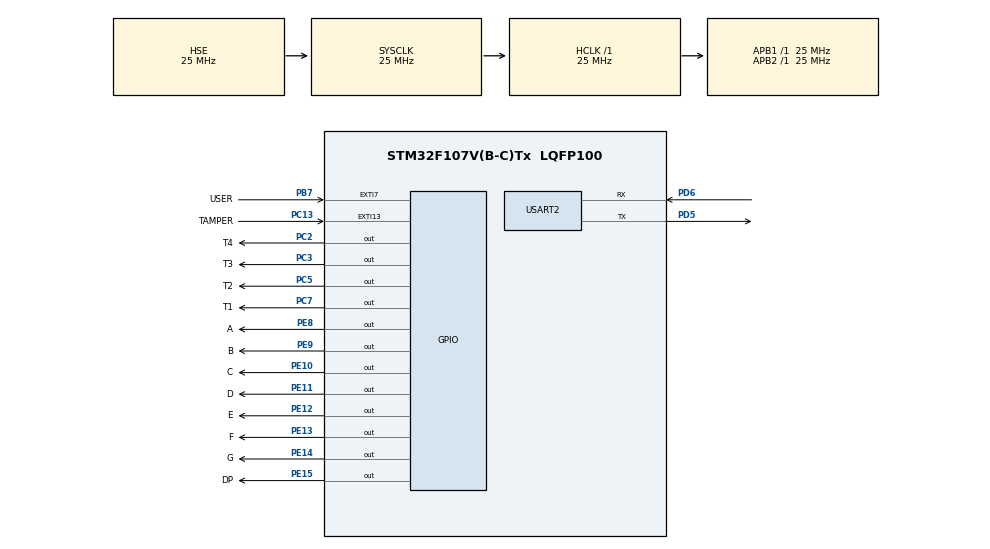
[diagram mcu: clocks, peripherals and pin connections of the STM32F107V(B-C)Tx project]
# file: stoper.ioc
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Mcu.Family=STM32F1
Mcu.Name=STM32F107V(B-C)Tx
Mcu.Package=LQFP100
NVIC.EXTI15_10_IRQn=true\:0\:0\:false\:false\:true\:true\:true
NVIC.EXTI9_5_IRQn=true\:0\:0\:false\:false\:true\:true\:true
NVIC.PriorityGroup=NVIC_PRIORITYGROUP_4
NVIC.TIM2_IRQn=true\:0\:0\:false\:false\:true\:true\:true
NVIC.TIM3_IRQn=true\:0\:0\:false\:false\:true\:true\:true
NVIC.USART2_IRQn=true\:0\:0\:false\:false\:true\:true\:true
OSC_IN.Mode=HSE-External-Oscillator
OSC_IN.Signal=RCC_OSC_IN
OSC_OUT.Mode=HSE-External-Oscillator
OSC_OUT.Signal=RCC_OSC_OUT
PA13.Mode=Serial_Wire
PA13.Signal=SYS_JTMS-SWDIO
PA14.Mode=Serial_Wire
PA14.Signal=SYS_JTCK-SWCLK
PB7.GPIO_Label=USER
PB7.GPIO_ModeDefaultEXTI=GPIO_MODE_IT_FALLING
PB7.Signal=GPXTI7
PC13-TAMPER-RTC.GPIO_Label=TAMPER
PC13-TAMPER-RTC.GPIO_ModeDefaultEXTI=GPIO_MODE_IT_FALLING
PC13-TAMPER-RTC.Signal=GPXTI13
PC2.GPIO_Label=T4
PC2.Signal=GPIO_Output
PC3.GPIO_Label=T3
PC3.Signal=GPIO_Output
PC5.GPIO_Label=T2
PC5.Signal=GPIO_Output
PC7.GPIO_Label=T1
PC7.Signal=GPIO_Output
PD5.Mode=Asynchronous
PD5.Signal=USART2_TX
PD6.Mode=Asynchronous
PD6.Signal=USART2_RX
PE10.GPIO_Label=C
PE10.Signal=GPIO_Output
PE11.GPIO_Label=D
PE11.Signal=GPIO_Output
PE12.GPIO_Label=E
PE12.Signal=GPIO_Output
PE13.GPIO_Label=F
PE13.Signal=GPIO_Output
PE14.GPIO_Label=G
PE14.Signal=GPIO_Output
PE15.GPIO_Label=DP
PE15.Signal=GPIO_Output
PE8.GPIO_Label=A
PE8.Signal=GPIO_Output
PE9.GPIO_Label=B
PE9.Signal=GPIO_Output
ProjectManager.HeapSize=0x200
ProjectManager.StackSize=0x400
ProjectManager.TargetToolchain=MDK-ARM V5
RCC.AHBFreq_Value=25000000
RCC.APB1Freq_Value=25000000
RCC.APB1TimFreq_Value=25000000
RCC.APB2Freq_Value=25000000
RCC.APB2TimFreq_Value=25000000
RCC.HCLKFreq_Value=25000000
RCC.HSE_VALUE=25000000
RCC.PLLMUL=RCC_PLL_MUL8
RCC.SYSCLKFreq_VALUE=25000000
RCC.SYSCLKSource=RCC_SYSCLKSOURCE_HSE
RCC.USBFreq_Value=21333333.333333332
TIM2.AutoReloadPreload=TIM_AUTORELOAD_PRELOAD_ENABLE
TIM2.Period=499
TIM2.Prescaler=49
TIM3.AutoReloadPreload=TIM_AUTORELOAD_PRELOAD_ENABLE
TIM3.Period=999
TIM3.Prescaler=99
USART2.VirtualMode=VM_ASYNC
VP_TIM2_VS_ClockSourceINT.Mode=Internal
VP_TIM3_VS_ClockSourceINT.Mode=Internal
board=custom

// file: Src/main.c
/* USER CODE BEGIN Header */
/**
  ******************************************************************************
  * @file           : main.c
  * @brief          : Main program body
  ******************************************************************************
  * @attention
  *
  * <h2><center>&copy; Copyright (c) 2019 STMicroelectronics.
  * All rights reserved.</center></h2>
  *
  * This software component is licensed by ST under BSD 3-Clause license,
  * the "License"; You may not use this file except in compliance with the
  * License. You may obtain a copy of the License at:
  *                        opensource.org/licenses/BSD-3-Clause
  *
  ******************************************************************************
  */
/* USER CODE END Header */

#include "main.h"
#include "tim.h"
#include "usart.h"
#include "gpio.h"

/* USER CODE BEGIN Includes */
#include "display.h"
#include "state_machine.h"
#include "stdio.h"
#include "stdlib.h"
/* USER CODE END Includes */

/* USER CODE BEGIN PV */

uint16_t ms, s  = 0;
uint8_t start = 0;
uint8_t cnt = 0;
uint8_t cnt1 = 0;
int tab[] = {0, 0, 0, 0};
uint8_t data[100];
uint16_t size = 4;
uint8_t bufor_cnt =0;
char bufor[5];
char Received;
enum states{IDLE, COUNT, PAUSE};
enum states state = IDLE;
uint32_t n=0;
/* USER CODE END PV */

void SystemClock_Config(void);
/* USER CODE BEGIN PFP */

void Display(int tab[4])
{
	Digit(cnt+1);
	bit_mask(tab[cnt]);
}

void HAL_GPIO_EXTI_Callback(uint16_t GPIO_Pin)
{
  /* Prevent unused argument(s) compilation warning */
	if(GPIO_Pin == USER_Pin)
	{
		/* Prevent unused argument(s) compilation warning */
		if (state == IDLE)
		{
			state = COUNT;
			size = sprintf(data, "Trwa odmierzanie czasu...\n\r");
			HAL_UART_Transmit_IT(&huart2, data, size);
		}

		else if(state == COUNT)
		{
			state = IDLE;
			size = sprintf(data, "Licznik wyzerowany. Zmierzony czas: %d ms.\n\r", s*1000+ms);
			HAL_UART_Transmit_IT(&huart2, data, size);
		}
		else if(state == PAUSE)
		{
			state = COUNT;
			size = sprintf(data, "Trwa odmierzanie czasu...\n\r");
			HAL_UART_Transmit_IT(&huart2, data, size);
		}

	}

	else if(GPIO_Pin == TAMPER_Pin)
	{
		if(state == COUNT)
		{
			state = PAUSE;
			size = sprintf(data, "Licznik zatrzymany. Zmierzony czas: %d ms.\n\r", s*1000+ms);
			HAL_UART_Transmit_IT(&huart2, data, size);
		}

		else if(state == IDLE)
		{
			state = PAUSE;
			size = sprintf(data, "Licznik zatrzymany.\n\r");
			HAL_UART_Transmit_IT(&huart2, data, size);

		}
	}
}

void HAL_TIM_PeriodElapsedCallback(TIM_HandleTypeDef *htim)
{
	if(htim->Instance == TIM3)
	{
		// mruganie wyswietlaczem podczas PAUSE
		if(state == PAUSE)
		{
			cnt1++;
			if (cnt1 < 100)
			{
				cnt++;
				if (cnt == 4)
				{cnt = 0;}
			}

			if (cnt1 > 100)
			{
				cnt = 4;
			}

			if (cnt1 > 200)
			{
				cnt1 = 0;
				cnt = 0;
			}
		}

		else
		{
			cnt++;
			if (cnt >= 4)
				cnt = 0;
		}
	}

	if(htim->Instance == TIM2 && start)
	{
		s = n/1000;
		ms = n%1000;

		if (ms > 100)
		{
			tab[3] = (ms/10)%10;
			tab[2] = ms/100;
		}

		if (s >= 1)
		{
			tab[1] = s%10;
			tab[0] = s/10;
			}

		if (s == 99 && ms == 999)
		{
			size = sprintf(data, "Osiagnieto maksymalny zakres: %d ms. Licznik wyzerowany.\n\r", s*1000+ms);
			HAL_UART_Transmit_IT(&huart2, data, size);
			state = IDLE;
		}
		n++;
		if (n ==99999)
		{
			n=0;
		}
	}

}

void HAL_UART_RxCpltCallback(UART_HandleTypeDef *huart)
 {
	 if (Received == 13)
	 {
		 for(int i = 0 ; i <= bufor_cnt; i++)
		 {
			 bufor[i]= 0;
		 }
		 bufor_cnt = 0;
	 }
	 else
	 {
		 bufor[bufor_cnt]=Received;
		 bufor_cnt++;
	 }

		if((bufor[0] == 83 && bufor[1] == 84 && bufor[2] == 65 && bufor[3] == 82 && bufor[4] == 84) ||
			 (bufor[0] == 83 && bufor[1] == 84 && bufor[2] == 79 && bufor[3] == 80))// START/STOP
		{
			if(state == IDLE)
			{
				state = COUNT;
				size = sprintf(data, "Trwa odmierzanie czasu...\n\r");
				HAL_UART_Transmit_IT(&huart2, data, size);
			}

			else if(state == COUNT)
			{
				state = IDLE;
				size = sprintf(data, "Licznik wyzerowany. Zmierzony czas: %d ms.\n\r", s*1000+ms);
				HAL_UART_Transmit_IT(&huart2, data, size);
			}

			else if(state == PAUSE)
			{
				state = COUNT;
				size = sprintf(data, "Trwa odmierzanie czasu...\n\r");
				HAL_UART_Transmit_IT(&huart2, data, size);
			}
		}

		 if (bufor[0] == 80 && bufor[1] == 65 && bufor[2] == 85 && bufor[3] == 83 && bufor[4] == 69) //PAUSE
			{
				if(state == COUNT)
				{
					state = PAUSE;
					size = sprintf(data, "Licznik zatrzymany. Zmierzony czas: %d ms.\n\r", s*1000+ms);
					HAL_UART_Transmit_IT(&huart2, data, size);
				}
				else if(state == IDLE)
				{
					state = PAUSE;
					size = sprintf(data, "Licznik zatrzymany.\n\r");
					HAL_UART_Transmit_IT(&huart2, data, size);
				}
			}

 HAL_UART_Receive_IT(&huart2, &Received, 1); // Ponowne wlaczenie nasluchiwania
		}
/* USER CODE END PFP */

int main(void)
{

  /* MCU Configuration--------------------------------------------------------*/

  /* Reset of all peripherals, Initializes the Flash interface and the Systick. */
  HAL_Init();

  /* Configure the system clock */
  SystemClock_Config();

  /* Initialize all configured peripherals */
  MX_GPIO_Init();
  MX_TIM2_Init();
  MX_USART2_UART_Init();
  MX_TIM3_Init();
  /* USER CODE BEGIN 2 */
	HAL_UART_Receive_IT(&huart2, &Received, 1);
	HAL_TIM_Base_Start_IT(&htim2);
	HAL_TIM_Base_Start_IT(&htim3);

  /* USER CODE END 2 */

  /* Infinite loop */
  while (1)
  {

    /* USER CODE BEGIN 3 */

		state_machine(state);
		Display(tab);
  }
  /* USER CODE END 3 */
}

void SystemClock_Config(void)
{
  RCC_OscInitTypeDef RCC_OscInitStruct = {0};
  RCC_ClkInitTypeDef RCC_ClkInitStruct = {0};

  /** Initializes the CPU, AHB and APB busses clocks
  */
  RCC_OscInitStruct.OscillatorType = RCC_OSCILLATORTYPE_HSE;
  RCC_OscInitStruct.HSEState = RCC_HSE_ON;
  RCC_OscInitStruct.PLL.PLLState = RCC_PLL_NONE;
  RCC_OscInitStruct.PLL2.PLL2State = RCC_PLL_NONE;
  if (HAL_RCC_OscConfig(&RCC_OscInitStruct) != HAL_OK)
  {
    Error_Handler();
  }
  /** Initializes the CPU, AHB and APB busses clocks
  */
  RCC_ClkInitStruct.ClockType = RCC_CLOCKTYPE_HCLK|RCC_CLOCKTYPE_SYSCLK
                              |RCC_CLOCKTYPE_PCLK1|RCC_CLOCKTYPE_PCLK2;
  RCC_ClkInitStruct.SYSCLKSource = RCC_SYSCLKSOURCE_HSE;
  RCC_ClkInitStruct.AHBCLKDivider = RCC_SYSCLK_DIV1;
  RCC_ClkInitStruct.APB1CLKDivider = RCC_HCLK_DIV1;
  RCC_ClkInitStruct.APB2CLKDivider = RCC_HCLK_DIV1;

  if (HAL_RCC_ClockConfig(&RCC_ClkInitStruct, FLASH_LATENCY_1) != HAL_OK)
  {
    Error_Handler();
  }
  /** Configure the Systick interrupt time
  */
  __HAL_RCC_PLLI2S_ENABLE();
}

void Error_Handler(void)
{
}

/************************ (C) COPYRIGHT STMicroelectronics *****END OF FILE****/
